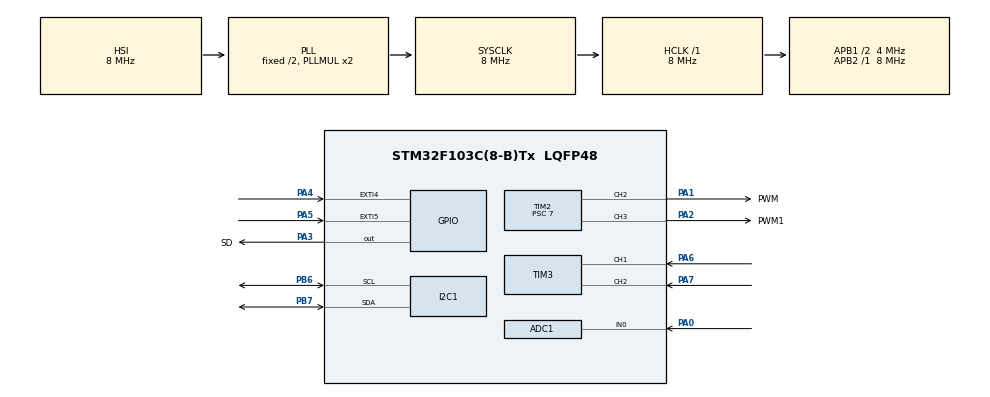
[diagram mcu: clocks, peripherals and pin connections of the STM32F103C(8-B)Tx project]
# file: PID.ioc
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ADC1.Channel-0\#ChannelRegularConversion=ADC_CHANNEL_0
ADC1.ContinuousConvMode=ENABLE
ADC1.NbrOfConversionFlag=1
ADC1.Rank-0\#ChannelRegularConversion=1
ADC1.SamplingTime-0\#ChannelRegularConversion=ADC_SAMPLETIME_55CYCLES_5
ADC1.master=1
Mcu.Family=STM32F1
Mcu.Name=STM32F103C(8-B)Tx
Mcu.Package=LQFP48
NVIC.EXTI4_IRQn=true\:0\:0\:true\:false\:true\:true\:true\:true
NVIC.EXTI9_5_IRQn=true\:3\:0\:true\:false\:true\:true\:true\:true
NVIC.PriorityGroup=NVIC_PRIORITYGROUP_4
NVIC.TIM1_UP_IRQn=true\:1\:0\:true\:false\:true\:true\:true\:true
PA0-WKUP.Signal=ADCx_IN0
PA1.GPIO_Label=PWM
PA1.GPIO_Speed=GPIO_SPEED_FREQ_HIGH
PA1.Signal=S_TIM2_CH2
PA13.Mode=Serial_Wire
PA13.Signal=SYS_JTMS-SWDIO
PA14.Mode=Serial_Wire
PA14.Signal=SYS_JTCK-SWCLK
PA2.GPIO_Label=PWM1
PA2.GPIO_Speed=GPIO_SPEED_FREQ_HIGH
PA2.Signal=S_TIM2_CH3
PA3.GPIO_Label=SD
PA3.GPIO_Speed=GPIO_SPEED_FREQ_HIGH
PA3.PinState=GPIO_PIN_RESET
PA3.Signal=GPIO_Output
PA4.GPIO_ModeDefaultEXTI=GPIO_MODE_IT_FALLING
PA4.GPIO_PuPd=GPIO_PULLUP
PA4.Signal=GPXTI4
PA5.GPIO_ModeDefaultEXTI=GPIO_MODE_IT_FALLING
PA5.GPIO_PuPd=GPIO_PULLUP
PA5.Signal=GPXTI5
PA6.Signal=S_TIM3_CH1
PA7.Signal=S_TIM3_CH2
PB6.Mode=I2C
PB6.Signal=I2C1_SCL
PB7.Mode=I2C
PB7.Signal=I2C1_SDA
ProjectManager.HeapSize=0x200
ProjectManager.StackSize=0x400
ProjectManager.TargetToolchain=MDK-ARM V5.32
RCC.ADCPresc=RCC_ADCPCLK2_DIV6
RCC.AHBFreq_Value=8000000
RCC.APB1CLKDivider=RCC_HCLK_DIV2
RCC.APB1Freq_Value=4000000
RCC.APB1TimFreq_Value=8000000
RCC.APB2Freq_Value=8000000
RCC.APB2TimFreq_Value=8000000
RCC.HCLKFreq_Value=8000000
RCC.SYSCLKFreq_VALUE=8000000
RCC.SYSCLKSource=RCC_SYSCLKSOURCE_PLLCLK
RCC.USBFreq_Value=8000000
SH.ADCx_IN0.0=ADC1_IN0,IN0
SH.S_TIM2_CH2.0=TIM2_CH2,PWM Generation2 CH2
SH.S_TIM2_CH3.0=TIM2_CH3,PWM Generation3 CH3
SH.S_TIM3_CH1.0=TIM3_CH1,Encoder_Interface
SH.S_TIM3_CH2.0=TIM3_CH2,Encoder_Interface
TIM1.AutoReloadPreload=TIM_AUTORELOAD_PRELOAD_ENABLE
TIM1.Period=99
TIM1.Prescaler=6399
TIM2.Channel-PWM\ Generation2\ CH2=TIM_CHANNEL_2
TIM2.Channel-PWM\ Generation3\ CH3=TIM_CHANNEL_3
TIM2.Period=999
TIM2.Prescaler=7
TIM3.EncoderMode=TIM_ENCODERMODE_TI12
VP_TIM1_VS_ClockSourceINT.Mode=Internal
VP_TIM2_VS_ClockSourceINT.Mode=Internal
board=custom

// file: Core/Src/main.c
/* USER CODE BEGIN Header */
/**
  ******************************************************************************
  * @file           : main.c
  * @brief          : Main program body
  ******************************************************************************
  * @attention
  *
  * Copyright (c) 2026 STMicroelectronics.
  * All rights reserved.
  *
  * This software is licensed under terms that can be found in the LICENSE file
  * in the root directory of this software component.
  * If no LICENSE file comes with this software, it is provided AS-IS.
  *
  ******************************************************************************
  */
/* USER CODE END Header */
#include "main.h"
#include "adc.h"
#include "i2c.h"
#include "tim.h"
#include "gpio.h"
#include "stdio.h"
#include "CLCD_I2C.h"

/* USER CODE BEGIN PV */
CLCD_I2C_Name LCD1;
char lcd_buffer[32]; // Tăng lên 32 để in thoải mái không bao giờ tràn
uint32_t last_lcd_update = 0;

// Biến điều khiển
volatile uint8_t is_running = 0;
volatile uint8_t direction = 0;
volatile uint8_t pending_reverse = 0;
uint32_t reverse_start_time = 0;

// Biến Encoder & ADC
uint32_t adc_val = 0;
float setpoint_rpm = 0, current_rpm = 0;
uint16_t last_encoder_cnt = 0;
#define PPR 1928.0f // 482 * 4 (Chế độ đếm X4 của TIM3)

// Biến PID & Feed-Forward
// Tăng mạnh Ki để kéo sai số nhanh hơn khi gần đạt đỉnh
// Sửa lại bộ thông số mềm mại hơn
float Kp = 3.5;   // Tỷ lệ 1:1, sai số 100 RPM thì bù 150 PWM
float Ki = 8.0;   // Giảm cực mạnh Ki để cộng dồn từ từ, chống vọt lố
float Kd = 0.0;   // Tắt Kd để chống nhiễu rung giật
float error = 0, last_error = 0, integral = 0, derivative = 0;
float output_pid = 0;

/* USER CODE END PV */

void SystemClock_Config(void);
/* USER CODE BEGIN PFP */
void I2C_Silent_Recover(void);
/* USER CODE END PFP */

int main(void)
{

  /* MCU Configuration--------------------------------------------------------*/

  /* Reset of all peripherals, Initializes the Flash interface and the Systick. */
  HAL_Init();

  /* Configure the system clock */
  SystemClock_Config();

  /* Initialize all configured peripherals */
  MX_GPIO_Init();
  MX_ADC1_Init();
  MX_TIM1_Init();
  MX_TIM2_Init();
  MX_I2C1_Init();
  MX_TIM3_Init();
  /* USER CODE BEGIN 2 */
 /* USER CODE BEGIN 2 */
  // Khởi tạo LCD chế độ 4-bit với các chân đã chọn
  // 1. Khởi động các bộ phận ngoại vi
  HAL_ADC_Start(&hadc1);

  // PWM trên chân PA1 (CH2) và PA2 (CH3) theo image_286483.png
  HAL_TIM_PWM_Start(&htim2, TIM_CHANNEL_2);
  HAL_TIM_PWM_Start(&htim2, TIM_CHANNEL_3);

  // Ngắt Timer 1 chu kỳ 10ms để tính PID
	// Ngắt Timer 1 chu kỳ 10ms để tính PID
  HAL_TIM_Base_Start_IT(&htim1);

  // BẬT BỘ ĐẾM ENCODER PHẦN CỨNG (TIMER 3)
  HAL_TIM_Encoder_Start(&htim3, TIM_CHANNEL_ALL);

  HAL_GPIO_WritePin(GPIOA, GPIO_PIN_3, GPIO_PIN_RESET); // Ép SD về 0 ngay khi khởi động
	// 2. Khởi tạo LCD
CLCD_I2C_Init(&LCD1, &hi2c1, 0x4e, 16, 2);
  CLCD_I2C_Clear(&LCD1);
  CLCD_I2C_WriteString(&LCD1, "SYSTEM READY...");
  HAL_Delay(1000);
  /* USER CODE END 2 */

  /* Infinite loop */
  /* USER CODE BEGIN WHILE */
  while (1) {
    // 1. Logic chờ đảo chiều
    if (pending_reverse && (HAL_GetTick() - reverse_start_time > 800)) {
        direction = !direction;
        integral = 0; last_error = 0;
        is_running = 1;
        pending_reverse = 0;
        HAL_GPIO_WritePin(GPIOA, GPIO_PIN_3, GPIO_PIN_SET);
    }

    // 2. ĐỌC VÀ LỌC NHIỄU BIẾN TRỞ (OVERSAMPLING + HYSTERESIS)
    uint32_t adc_sum = 0;

    // Đọc liên tiếp 16 lần cực nhanh
    for(int i = 0; i < 16; i++) {
        HAL_ADC_Start(&hadc1);
        if (HAL_ADC_PollForConversion(&hadc1, 5) == HAL_OK) {
            adc_sum += HAL_ADC_GetValue(&hadc1);
        }
    }
    uint32_t adc_avg = adc_sum / 16; // Tính trung bình cộng để triệt tiêu nhiễu gai

    // Tính Setpoint nháp (Ép max 1000 RPM)
    float temp_setpoint = (float)(adc_avg * 1000.0f) / 4095.0f;

    // KHÓA CỨNG SETPOINT (Chống nhảy liti)
    // Chỉ cập nhật tốc độ nếu tay bạn thực sự vặn lệch quá 5 RPM
    float diff_sp = temp_setpoint - setpoint_rpm;
    if (diff_sp > 5.0f || diff_sp < -5.0f) {
        setpoint_rpm = temp_setpoint;
    }
  // 3. CẬP NHẬT LCD (Mỗi 1000ms - BẢN CHỐT CUỐI CÙNG)
    if (HAL_GetTick() - last_lcd_update > 1000) {
        last_lcd_update = HAL_GetTick(); // Khóa mốc thời gian ngay lập tức

        // Kiểm tra xem mạch I2C có đang bị kẹt do nhiễu không (Timeout cực ngắn 10ms)
        if (HAL_I2C_IsDeviceReady(&hi2c1, 0x4E, 3, 10) != HAL_OK) {
            I2C_Silent_Recover();    // Lắc 9 nhịp clock để thông đường truyền
            CLCD_I2C_Clear(&LCD1);   // Xóa sạch rác trên màn hình do nhiễu gây ra
        }

        // DÒNG 1: Hiển thị Tốc độ cài đặt (S) và Tốc độ thực tế (R)
        CLCD_I2C_SetCursor(&LCD1, 0, 0);
        sprintf(lcd_buffer, "S:%-4.0f R:%-4.0f ", setpoint_rpm, current_rpm);
        CLCD_I2C_WriteString(&LCD1, lcd_buffer);

        // DÒNG 2: Hiển thị Lực đẩy PWM (P) và Trạng thái (ST)
        CLCD_I2C_SetCursor(&LCD1, 0, 1);
        if (pending_reverse) {
            CLCD_I2C_WriteString(&LCD1, "STATUS: WAIT... ");
        } else {
            sprintf(lcd_buffer, "P:%-3.0f  ST:%s  ",
                    output_pid,
                    (is_running ? "RUN " : "STOP"));
            CLCD_I2C_WriteString(&LCD1, lcd_buffer);
        }
    }
}
	}

void SystemClock_Config(void)
{
  RCC_OscInitTypeDef RCC_OscInitStruct = {0};
  RCC_ClkInitTypeDef RCC_ClkInitStruct = {0};
  RCC_PeriphCLKInitTypeDef PeriphClkInit = {0};

  /** Initializes the RCC Oscillators according to the specified parameters
  * in the RCC_OscInitTypeDef structure.
  */
  RCC_OscInitStruct.OscillatorType = RCC_OSCILLATORTYPE_HSI;
  RCC_OscInitStruct.HSIState = RCC_HSI_ON;
  RCC_OscInitStruct.HSICalibrationValue = RCC_HSICALIBRATION_DEFAULT;
  RCC_OscInitStruct.PLL.PLLState = RCC_PLL_ON;
  RCC_OscInitStruct.PLL.PLLSource = RCC_PLLSOURCE_HSI_DIV2;
  RCC_OscInitStruct.PLL.PLLMUL = RCC_PLL_MUL2;
  if (HAL_RCC_OscConfig(&RCC_OscInitStruct) != HAL_OK)
  {
    Error_Handler();
  }

  /** Initializes the CPU, AHB and APB buses clocks
  */
  RCC_ClkInitStruct.ClockType = RCC_CLOCKTYPE_HCLK|RCC_CLOCKTYPE_SYSCLK
                              |RCC_CLOCKTYPE_PCLK1|RCC_CLOCKTYPE_PCLK2;
  RCC_ClkInitStruct.SYSCLKSource = RCC_SYSCLKSOURCE_PLLCLK;
  RCC_ClkInitStruct.AHBCLKDivider = RCC_SYSCLK_DIV1;
  RCC_ClkInitStruct.APB1CLKDivider = RCC_HCLK_DIV2;
  RCC_ClkInitStruct.APB2CLKDivider = RCC_HCLK_DIV1;

  if (HAL_RCC_ClockConfig(&RCC_ClkInitStruct, FLASH_LATENCY_0) != HAL_OK)
  {
    Error_Handler();
  }
  PeriphClkInit.PeriphClockSelection = RCC_PERIPHCLK_ADC;
  PeriphClkInit.AdcClockSelection = RCC_ADCPCLK2_DIV6;
  if (HAL_RCCEx_PeriphCLKConfig(&PeriphClkInit) != HAL_OK)
  {
    Error_Handler();
  }
}

/* USER CODE BEGIN 4 */
/* USER CODE BEGIN 4 */
// Hàm này sẽ tự động được gọi mỗi 10ms do Timer 1 tạo ra
/* USER CODE BEGIN 4 */
/* --- HÀM HỒI SINH I2C --- */
	void I2C_Silent_Recover(void) {
    if (__HAL_I2C_GET_FLAG(&hi2c1, I2C_FLAG_BUSY) != RESET || hi2c1.State != HAL_I2C_STATE_READY) {
        HAL_I2C_DeInit(&hi2c1);
        GPIO_InitTypeDef GPIO_InitStruct = {0};
        GPIO_InitStruct.Pin = GPIO_PIN_6 | GPIO_PIN_7;
        GPIO_InitStruct.Mode = GPIO_MODE_OUTPUT_OD;
        GPIO_InitStruct.Pull = GPIO_PULLUP;
        GPIO_InitStruct.Speed = GPIO_SPEED_FREQ_HIGH;
        HAL_GPIO_Init(GPIOB, &GPIO_InitStruct);

        for (int i = 0; i < 9; i++) {
            HAL_GPIO_WritePin(GPIOB, GPIO_PIN_6, GPIO_PIN_RESET);
            HAL_Delay(1);
            HAL_GPIO_WritePin(GPIOB, GPIO_PIN_6, GPIO_PIN_SET);
            HAL_Delay(1);
        }
        MX_I2C1_Init();
    }
}

/* --- NGẮT TIMER 1: TÍNH PID & FEED-FORWARD --- */

void HAL_TIM_PeriodElapsedCallback(TIM_HandleTypeDef *htim)
{
  if (htim->Instance == TIM1) // Bắt đầu ngắt Timer 1 (Chu kỳ 10ms)
  {
    static uint8_t counter = 0;

    // =========================================================
    // KHỐI 1: TÍNH TOÁN RPM VÀ THUẬT TOÁN PID (Mỗi 50ms)
    // =========================================================
    if (++counter >= 5)
    {
        counter = 0;

        // A. Đọc Encoder phần cứng (Timer 3)
        uint16_t current_cnt = (uint16_t)__HAL_TIM_GET_COUNTER(&htim3);
        int16_t diff = (int16_t)(current_cnt - last_encoder_cnt);
        last_encoder_cnt = current_cnt;

        // B. Tính RPM thực tế
			float current_rpm_raw = (float)(diff * 1200.0f) / PPR;
        current_rpm_raw = (float)(diff * 1200.0f) / PPR;
        if (current_rpm_raw < 0) current_rpm_raw = -current_rpm_raw;

        // Lọc thông thấp để số hiển thị và PID chạy êm hơn
        current_rpm = (current_rpm * 0.8f) + (current_rpm_raw * 0.2f);

        // C. TÍNH TOÁN PID (Chỉ tính khi đang RUN)
        if (is_running && !pending_reverse)
        {
            error = setpoint_rpm - current_rpm;

            // Khâu I: Cộng dồn sai số theo thời gian (dt = 50ms = 0.05s)
            integral += error * 0.05f;

            // Chống bão hòa tích phân (Anti-windup) - Nới lỏng cho tốc độ cao
            if (integral > 1000.0f) integral = 1000.0f;
            if (integral < -1000.0f) integral = -1000.0f;

            // Khâu D: Tốc độ thay đổi của sai số
            derivative = (error - last_error) / 0.05f;

            // Tổng hợp PID
            output_pid = (Kp * error) + (Ki * integral) + (Kd * derivative);
            last_error = error;

            // Giới hạn PWM băm ra chân vi điều khiển (0 - 999)
            if (output_pid > 999.0f) output_pid = 999.0f;
            if (output_pid < 0.0f) output_pid = 0.0f;
        }
    } // Kết thúc khối 50ms

    // =========================================================
    // KHỐI 2: ĐIỀU KHIỂN MOTOR (Chạy mỗi 10ms để đáp ứng siêu nhanh)
    // =========================================================
    if (is_running && !pending_reverse)
    {
        // Xuất PWM sang Driver L298/Mạch Cầu H
        if (direction == 0) {
            __HAL_TIM_SET_COMPARE(&htim2, TIM_CHANNEL_3, 0);
            __HAL_TIM_SET_COMPARE(&htim2, TIM_CHANNEL_2, (uint32_t)output_pid);
        } else {
            __HAL_TIM_SET_COMPARE(&htim2, TIM_CHANNEL_2, 0);
            __HAL_TIM_SET_COMPARE(&htim2, TIM_CHANNEL_3, (uint32_t)output_pid);
        }
    }
    else // Trường hợp STOP hoặc đang đợi đảo chiều
    {
        // Ngắt xung PWM lập tức
        __HAL_TIM_SET_COMPARE(&htim2, TIM_CHANNEL_2, 0);
        __HAL_TIM_SET_COMPARE(&htim2, TIM_CHANNEL_3, 0);

        // RESET THÔNG SỐ PID (Rất quan trọng để lần chạy sau không bị vọt lố)
        integral = 0;
        last_error = 0;
        output_pid = 0;
    }
  } // Kết thúc ngắt Timer 1
}

/* --- NGẮT NÚT NHẤN EXTI --- */
void HAL_GPIO_EXTI_Callback(uint16_t GPIO_Pin)
{
    uint32_t now = HAL_GetTick();

    // --- NÚT PA4: CHẠY / DỪNG ---
    if (GPIO_Pin == GPIO_PIN_4) {
        // BẮT BUỘC: Kiểm tra nút có thực sự đang bị đè xuống mức LOW không
        if (HAL_GPIO_ReadPin(GPIOA, GPIO_PIN_4) == GPIO_PIN_RESET) {
            static uint32_t last_t4 = 0;
            if (now - last_t4 > 400) {
                if (pending_reverse) {
                    pending_reverse = 0;
                    is_running = 0;
                } else {
                    is_running = !is_running;
                }

                if (is_running) HAL_GPIO_WritePin(GPIOA, GPIO_PIN_3, GPIO_PIN_SET);
                else HAL_GPIO_WritePin(GPIOA, GPIO_PIN_3, GPIO_PIN_RESET);

                last_t4 = now;
            }
        }
    }

    // --- NÚT PA5: ĐẢO CHIỀU ---
    else if (GPIO_Pin == GPIO_PIN_5) {
        // BẮT BUỘC: Kiểm tra nút có thực sự đang bị đè xuống mức LOW không
        if (HAL_GPIO_ReadPin(GPIOA, GPIO_PIN_5) == GPIO_PIN_RESET) {
            static uint32_t last_t5 = 0;
            if (now - last_t5 > 400) {
                if (is_running) {
                    is_running = 0;
                    pending_reverse = 1;
                    reverse_start_time = now;
                    HAL_GPIO_WritePin(GPIOA, GPIO_PIN_3, GPIO_PIN_RESET);
                } else {
                    direction = !direction;
                }
                last_t5 = now;
            }
        }
    }
}
/* USER CODE END 4 */

void Error_Handler(void)
{
  __disable_irq();
  while (1)
  {
  }
}
